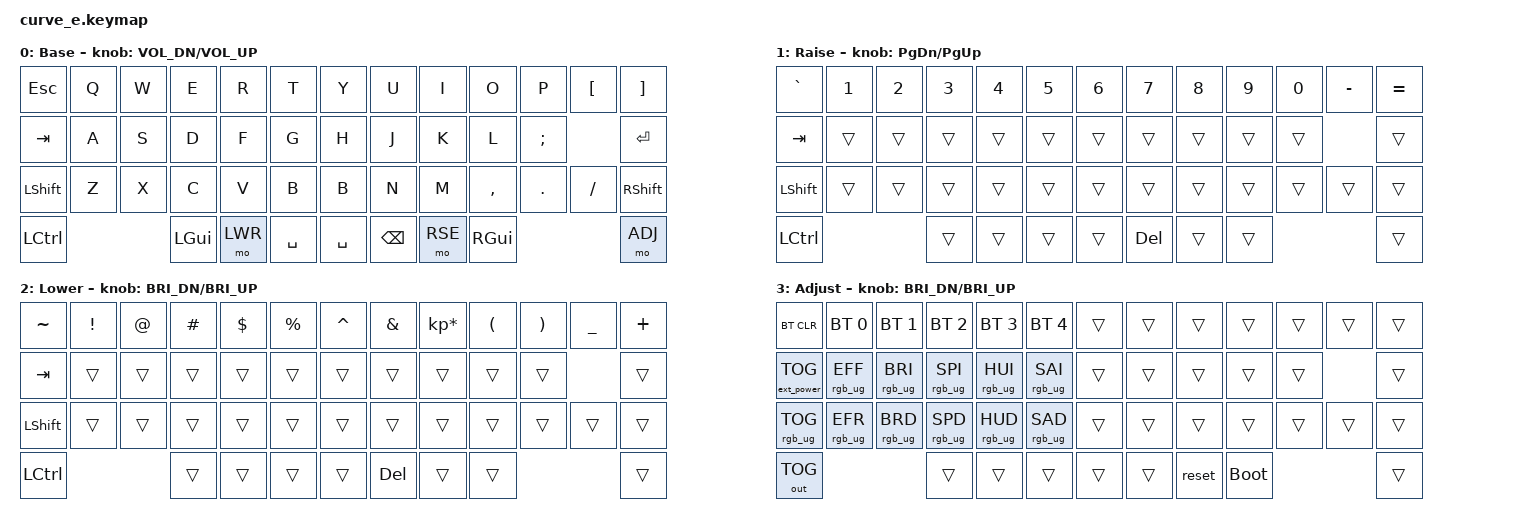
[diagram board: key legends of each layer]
/*
# Copyright (c) 2021 The ZMK Contributors
*
* SPDX-License-Identifier: MIT
*/

#include <behaviors.dtsi>
#include <dt-bindings/zmk/keys.h>
#include <dt-bindings/zmk/rgb.h>
#include <dt-bindings/zmk/bt.h>
#include <dt-bindings/zmk/outputs.h>
#include <dt-bindings/zmk/ext_power.h>

#define RSE 1
#define LWR 2
#define ADJ 3

/ {

	keymap {
		compatible = "zmk,keymap";

		default_layer {
			label = "Base";
			bindings = <
				&kp ESC		&kp Q    &kp W    &kp E    &kp R     &kp T       &kp Y    &kp U  &kp I  &kp O  	  &kp P      &kp LBKT  &kp RBKT
			    &kp TAB     &kp A    &kp S    &kp D    &kp F     &kp G       &kp H    &kp J  &kp K  &kp L     &kp SEMI   	       &kp ENTER   
			    &kp LSHIFT  &kp Z    &kp X 	  &kp C    &kp V     &kp B       &kp B    &kp N  &kp M  &kp COMMA &kp PERIOD &kp SLASH &kp RSHIFT
			    &kp LCTRL   		 		  &kp LGUI &mo LWR &kp SPACE &kp SPACE   &kp BSPC &mo RSE  &kp RGUI             	   &mo ADJ
			>;
                     sensor-bindings = <&inc_dec_kp C_VOL_DN C_VOL_UP>;
		};

		raise_layer {
			label = "Raise";
			bindings = <
				&kp GRAVE	&kp N1   &kp N2   &kp N3   &kp N4    &kp N5      &kp N6   &kp N7 &kp N8 &kp N9    &kp N0     &kp MINUS &kp EQUAL
			    &kp TAB     &trans   &trans   &trans   &trans    &trans      &trans   &trans &trans &trans    &trans     	       &trans   
			    &kp LSHIFT  &trans   &trans   &trans   &trans    &trans      &trans   &trans &trans &trans    &trans     &trans	   &trans
			    &kp LCTRL   		          &trans   &trans    &trans      &trans   &kp DEL       &trans    &trans               &trans
			>;
                     sensor-bindings = <&inc_dec_kp PG_DN PG_UP>;
		};

		lower_layer {
			label = "Lower";
			bindings = <
				&kp TILDE	&kp EXCL &kp AT  &kp HASH  &kp DLLR  &kp PRCNT   &kp CARET &kp AMPS &kp KP_MULTIPLY &kp LPAR  &kp RPAR &kp UNDER &kp PLUS
			    &kp TAB     &trans   &trans   &trans   &trans    &trans      &trans    &trans   &trans          &trans    &trans     	     &trans   
			    &kp LSHIFT  &trans   &trans   &trans   &trans    &trans      &trans    &trans   &trans          &trans    &trans   &trans	 &trans
			    &kp LCTRL   		 &trans   &trans   &trans    &trans      &kp DEL 		                    &trans    &trans             &trans
			>;
                     sensor-bindings = <&inc_dec_kp C_BRI_DN C_BRI_UP>;
		};

		adjust_layer {
			label = "Adjust";
			bindings = <
				&bt BT_CLR 	      &bt BT_SEL 0 &bt BT_SEL 1 &bt BT_SEL 2 &bt BT_SEL 3 &bt BT_SEL 4 &trans &trans &trans &trans &trans &trans &trans
		 		&ext_power EP_TOG &rgb_ug RGB_EFF &rgb_ug RGB_BRI &rgb_ug RGB_SPI &rgb_ug RGB_HUI &rgb_ug RGB_SAI &trans &trans &trans &trans &trans        &trans   
	     		&rgb_ug RGB_TOG   &rgb_ug RGB_EFR &rgb_ug RGB_BRD &rgb_ug RGB_SPD &rgb_ug RGB_HUD &rgb_ug RGB_SAD &trans &trans &trans &trans &trans &trans &trans
			    &out OUT_TOG 		              &trans       &trans       &trans       &trans &trans        &reset &bootloader   &trans   
			>;
                     sensor-bindings = <&inc_dec_kp C_BRI_DN C_BRI_UP>;
		};
	};
};
